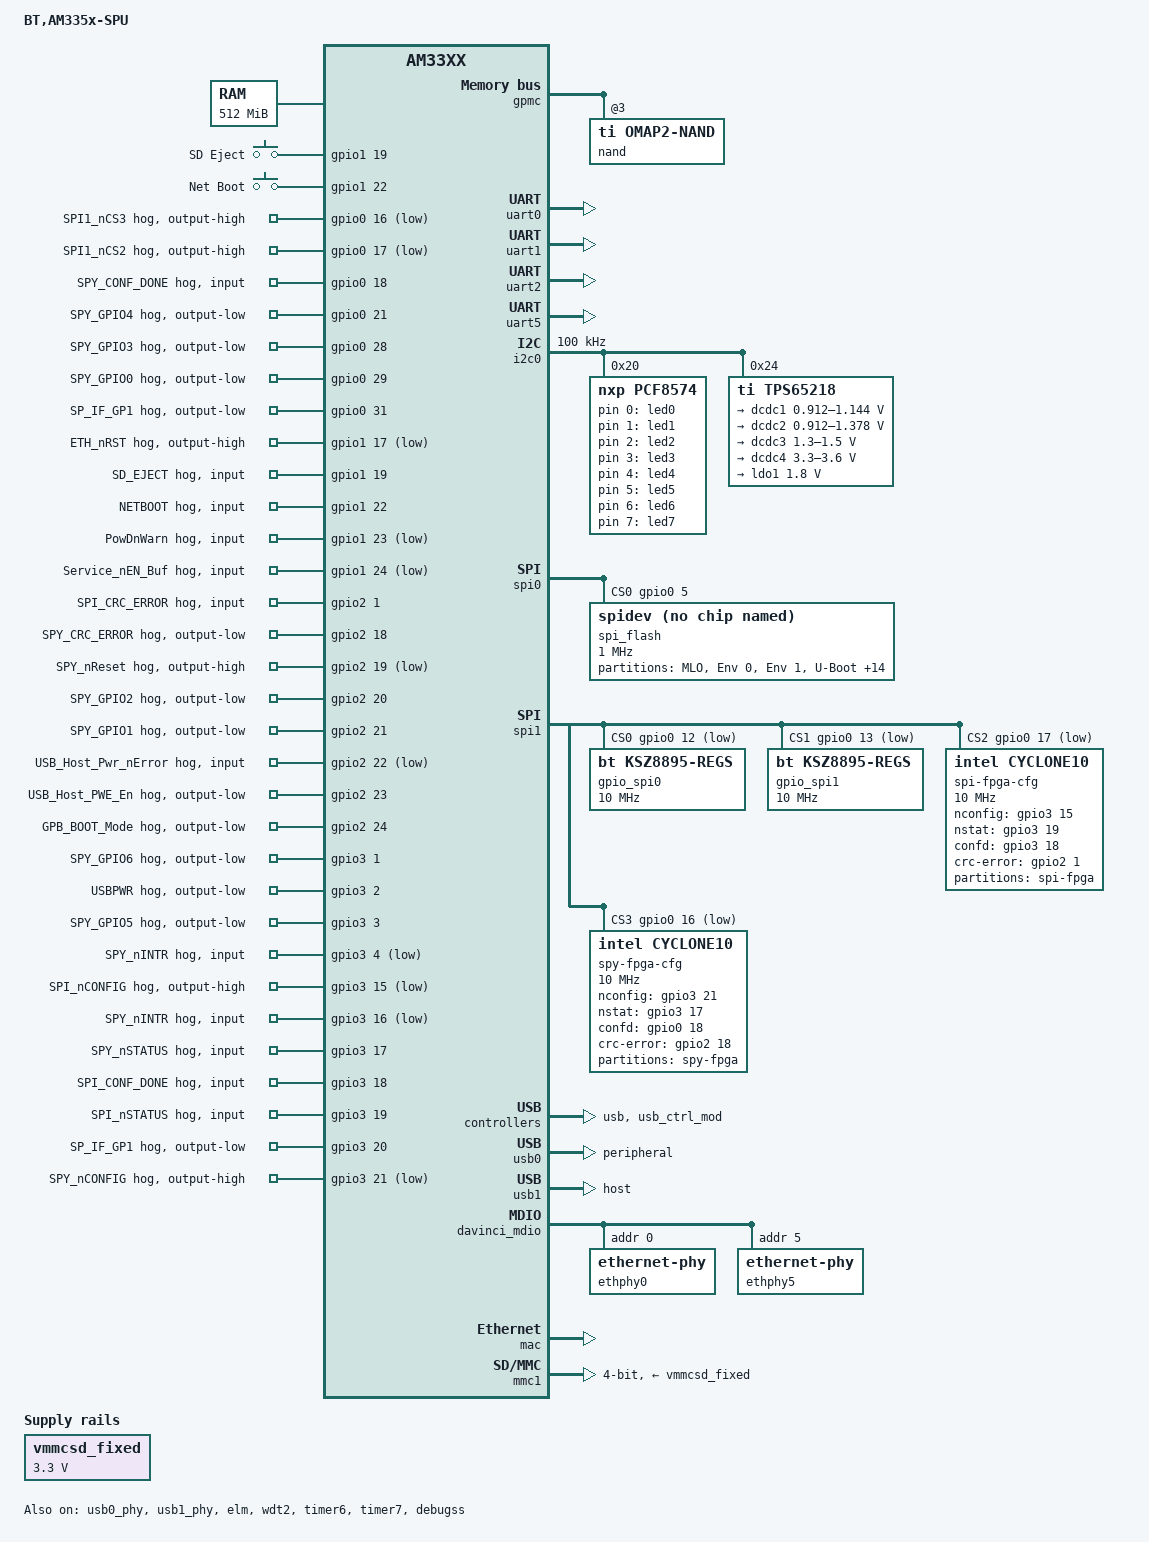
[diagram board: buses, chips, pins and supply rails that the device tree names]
// SPDX-License-Identifier: GPL-2.0+
/*
 * Copyright (C) 2020 Bombardier Transportation
 *		Ulf Samuelsson <ext.ulf.samuelsson@rail.bombardier.com>
 *		Ulf Samuelsson <ulf@emagii.com>
 *
 */
/dts-v1/;
#define	LINUX_PINCTRL	1
#define	CONFIG_OMAP3_SPI_CS_GPIO	1
#define	SPI1_SOFT_SPI	0

#include "am33xx.dtsi"
#include <dt-bindings/interrupt-controller/irq.h>
#include <dt-bindings/input/input.h>

/ {
	model = "BT,AM335x-SPU";
	compatible = "ti,am33xx";

	fset: factory-settings {
		bl-version	= "ABCDEFGHIJKLMNOPQRSTUVWXYZ0123456890";
		version		= <0x0100>;
		order-no	= "BT SPU (SPI)";
		hw-revision	= "ABCDEFGHIJKLMNOPQRSTUVWXYZ0123456890";
		serial-no	= "0";
		device-id	= <0x0>;
		parent-id	= <0x0>;
		hw-variant	= <0x1>;
	};

	aliases {
		gpmc = &gpmc;
		mmc = &mmc1;
		spi0 = &spi0;
		spi1 = &spi1;
		spi2 = &soft_mcspi;
		fset = &fset;
	};

	cpus {
		cpu@0 {
			cpu0-supply = <&dcdc2>;
		};
	};
	chosen {
		bootargs = "console=ttyO0,115200 earlyprintk";
		stdout-path = &uart0;
		tick-timer = &timer2;
	};

	memory {
		device_type = "memory";
		reg = <0x80000000 0x20000000>; /* 512 MB */
	};

	vmmcsd_fixed: fixedregulator@0 {
		compatible = "regulator-fixed";
		regulator-name = "vmmcsd_fixed";
		regulator-min-microvolt = <3300000>;
		regulator-max-microvolt = <3300000>;
	};

	pwm0: omap-pwm@timer5 {
		compatible = "ti,omap-dmtimer-pwm";
		ti,timers = <&timer5>;
		#pwm-cells = <3>;
	};

	pwm1: omap-pwm@timer6 {
		compatible = "ti,omap-dmtimer-pwm";
		ti,timers = <&timer6>;
		#pwm-cells = <3>;
	};
	ocp {
		debugss: debugss@4b000000 {
			compatible = "ti,debugss";
			ti,hwmods = "debugss";
			reg = <0x4b000000 1000000>;
			status = "okay";
		};
	};

	gpio_keys {
		compatible = "gpio-keys";

		sd_eject {
			label = "SD Eject";
			gpios = <&gpio1 19 GPIO_ACTIVE_HIGH>;
			linux,code = <KEY_F1>;
			debounce-interval = <1000>;
			wakeup-source;
		};
		netboot {
			label = "Net Boot";
			gpios = <&gpio1 22 GPIO_ACTIVE_HIGH>;
			linux,code = <KEY_F2>;
			debounce-interval = <1000>;
		};
	};

	leds {
		compatible = "gpio-leds";

		gen_led0 {
			label = "led0";
			gpios = <&pcf8574 0 GPIO_ACTIVE_HIGH>;
		};

		gen_led1 {
			label = "led1";
			gpios = <&pcf8574 1 GPIO_ACTIVE_HIGH>;
		};

		gen_led2 {
			label = "led2";
			gpios = <&pcf8574 2 GPIO_ACTIVE_HIGH>;
		};

		gen_led3 {
			label = "led3";
			gpios = <&pcf8574 3 GPIO_ACTIVE_HIGH>;
		};

		gen_led4 {
			label = "led4";
			gpios = <&pcf8574 4 GPIO_ACTIVE_HIGH>;
		};

		gen_led5 {
			label = "led5";
			gpios = <&pcf8574 5 GPIO_ACTIVE_HIGH>;
		};

		gen_led6 {
			label = "led6";
			gpios = <&pcf8574 6 GPIO_ACTIVE_HIGH>;
			linux,default-trigger = "heartbeat";
		};

		gen_led7 {
			label = "led7";
			gpios = <&pcf8574 7 GPIO_ACTIVE_HIGH>;
			linux,default-trigger = "default-on";
		};

	};
	ocp {
		soft_mcspi: soft-mcspi {
			compatible = "mcspi-gpio";
			num-cs = <5>;
			#address-cells = <1>;
			#size-cells = <0>;
			status = "disabled";
		};
	};
};

&am33xx_pinmux {
	pinctrl-names = "default";

	i2c0_pins: pinmux_i2c0_pins {
		pinctrl-single,pins = <
#if	LINUX_PINCTRL == 1
			AM33XX_PADCONF(AM335X_PIN_I2C0_SDA, PIN_INPUT_PULLUP, MUX_MODE0)	/* i2c0_sda.i2c0_sda */
			AM33XX_PADCONF(AM335X_PIN_I2C0_SCL, PIN_INPUT_PULLUP, MUX_MODE0)	/* i2c0_scl.i2c0_scl */
#else
			AM33XX_IOPAD(0x988, PIN_INPUT_PULLUP	| MUX_MODE0)	/* i2c0_sda.i2c0_sda */
			AM33XX_IOPAD(0x98c, PIN_INPUT_PULLUP	| MUX_MODE0)	/* i2c0_scl.i2c0_scl */
#endif
		>;
	};

	spi0_pins: pinmux_spi0_pins {
		pinctrl-single,pins = <
#if	LINUX_PINCTRL == 1
			AM33XX_PADCONF(AM335X_PIN_SPI0_SCLK, PIN_INPUT_PULLUP, MUX_MODE0)
			AM33XX_PADCONF(AM335X_PIN_SPI0_D0, PIN_INPUT_PULLUP, MUX_MODE0)
			AM33XX_PADCONF(AM335X_PIN_SPI0_D1, PIN_INPUT_PULLUP, MUX_MODE0)
			AM33XX_PADCONF(AM335X_PIN_SPI0_CS0, PIN_INPUT_PULLUP, MUX_MODE0)
#else
			AM33XX_IOPAD(0x950, PIN_INPUT_PULLDOWN | MUX_MODE0)	/* spi0_sclk */
			AM33XX_IOPAD(0x954, PIN_INPUT_PULLUP | MUX_MODE0)	/* spi0_d0 */
			AM33XX_IOPAD(0x958, PIN_INPUT_PULLDOWN | MUX_MODE0)	/* spi0_d1 */
			AM33XX_IOPAD(0x95C, PIN_INPUT_PULLUP | MUX_MODE0)	/* spi0_cs0 */
#endif
		>;
	};

	spi0_pins_gpio: pinmux_spi0_pins_gpio {
		pinctrl-single,pins = <
#if	LINUX_PINCTRL == 1
#else
			AM33XX_IOPAD(0x950, PIN_INPUT_PULLDOWN | MUX_MODE7)	/* spi0_sclk */
			AM33XX_IOPAD(0x954, PIN_INPUT_PULLUP | MUX_MODE7)	/* spi0_d0 */
			AM33XX_IOPAD(0x958, PIN_INPUT_PULLDOWN | MUX_MODE7)	/* spi0_d1 */
			AM33XX_IOPAD(0x95C, PIN_INPUT_PULLUP | MUX_MODE7)	/* spi0_cs0 */
#endif
		>;
	};

	spi1_pins: pinmux_spi1_pins {
		pinctrl-single,pins = <
#if	LINUX_PINCTRL == 1
			AM33XX_PADCONF(AM335X_PIN_ECAP0_IN_PWM0_OUT,	PIN_INPUT_PULLDOWN,	MUX_MODE4)	/* (C18) spi1_sclk */
			AM33XX_PADCONF(AM335X_PIN_UART0_CTSN, 		PIN_INPUT_PULLUP,	MUX_MODE4)	/* (E18) spi1_d0 */
			AM33XX_PADCONF(AM335X_PIN_UART0_RTSN,		PIN_INPUT_PULLDOWN,	MUX_MODE4)	/* (E17) spi1_d1 */
#if	CONFIG_OMAP3_SPI_CS_GPIO == 1
			AM33XX_PADCONF(AM335X_PIN_UART1_CTSN, 		PIN_OUTPUT_PULLUP,	MUX_MODE7)	/* (D18) spi1_cs0 */
			AM33XX_PADCONF(AM335X_PIN_UART1_RTSN,		PIN_OUTPUT_PULLUP,	MUX_MODE7)	/* (D17) spi1_cs1 */
#else
			AM33XX_PADCONF(AM335X_PIN_UART1_CTSN, 		PIN_OUTPUT_PULLUP,	MUX_MODE4)	/* (D18) spi1_cs0 */
			AM33XX_PADCONF(AM335X_PIN_UART1_RTSN,		PIN_OUTPUT_PULLUP,	MUX_MODE4)	/* (D17) spi1_cs1 */
#endif
			AM33XX_PADCONF(AM335X_PIN_MII1_TXD2,		PIN_OUTPUT_PULLUP,	MUX_MODE7)	/* (K15) spi1_cs2 */
			AM33XX_PADCONF(AM335X_PIN_MII1_TXD3,		PIN_OUTPUT_PULLUP,	MUX_MODE7)	/* (J18) spi1_cs3 */
#else
			AM33XX_IOPAD(0x964,				PIN_INPUT_PULLDOWN	| MUX_MODE4)	/* C18, ecap0_in_pwm0_out.spi1_sclk */
			AM33XX_IOPAD(0x968,				PIN_INPUT_PULLUP	| MUX_MODE4)	/* E18, uart0_ctsn.spi1_d0 */
			AM33XX_IOPAD(0x96C,				PIN_INPUT_PULLDOWN	| MUX_MODE4)	/* E17, uart0_rtsn.spi1_d1 */
#if	CONFIG_OMAP3_SPI_CS_GPIO == 1
			AM33XX_IOPAD(0x920,				PIN_OUTPUT_PULLUP	| MUX_MODE7)	/* K15,0:17 mii_txd2.spi1_cs2 */
			AM33XX_IOPAD(0x91C,				PIN_OUTPUT_PULLUP	| MUX_MODE7)	/* J18,0:16 mii_txd3.spi1_cs3 */
#else
			AM33XX_IOPAD(0x978,				PIN_OUTPUT_PULLUP	| MUX_MODE4)	/* D18,0:12 uart1_ctsn.spi1_cs0 */
			AM33XX_IOPAD(0x97C,				PIN_OUTPUT_PULLUP	| MUX_MODE4)	/* D17,0:13 uart1_rtsn.spi1_cs1 */
#endif
			AM33XX_IOPAD(0x920,				PIN_OUTPUT_PULLUP	| MUX_MODE7)	/* K15,0:17 mii_txd2.spi1_cs2 */
			AM33XX_IOPAD(0x91C,				PIN_OUTPUT_PULLUP	| MUX_MODE7)	/* J18,0:16 mii_txd3.spi1_cs3 */
#endif
		>;
	};
	soft_mcspi1_pins: pinmux_soft_mcspi1_pins {
		pinctrl-single,pins = <
#if	LINUX_PINCTRL == 1
			AM33XX_PADCONF(AM335X_PIN_ECAP0_IN_PWM0_OUT,	PIN_INPUT_PULLDOWN, MUX_MODE7)	/* (C18) 0:07 spi1_sclk */
			AM33XX_PADCONF(AM335X_PIN_UART0_CTSN, 		PIN_INPUT_PULLUP,   MUX_MODE7)	/* (E18) 1:08 spi1_d0 (miso) */
			AM33XX_PADCONF(AM335X_PIN_UART0_RTSN,		PIN_INPUT_PULLDOWN, MUX_MODE7)	/* (E17) 1:09 spi1_d1 (mosi) */
			AM33XX_PADCONF(AM335X_PIN_UART1_CTSN, 		PIN_INPUT_PULLUP,   MUX_MODE7)	/* (D18) 0:12 spi1_cs0 */
			AM33XX_PADCONF(AM335X_PIN_UART1_RTSN,		PIN_INPUT_PULLUP,   MUX_MODE7)	/* (E17) 0:13 spi1_cs1 */
			AM33XX_PADCONF(AM335X_PIN_MII1_TXD2,		PIN_INPUT_PULLUP,   MUX_MODE7)	/* (K15) 0:17 spi1_cs2 */
			AM33XX_PADCONF(AM335X_PIN_MII1_TXD3,		PIN_INPUT_PULLUP,   MUX_MODE7)	/* (J18) 0:16 spi1_cs3 */
#else
			AM33XX_IOPAD(0x964, PIN_INPUT_PULLDOWN | MUX_MODE7)	/* C18,0:07 ecap0_in_pwm0_out.spi1_sclk */
			AM33XX_IOPAD(0x968, PIN_INPUT_PULLUP   | MUX_MODE7)	/* E18,1:08 uart0_ctsn.spi1_d0 (miso) */
			AM33XX_IOPAD(0x96C, PIN_INPUT_PULLDOWN | MUX_MODE7)	/* E17,1:09 uart0_rtsn.spi1_d1 (mosi) */
			AM33XX_IOPAD(0x978, PIN_INPUT_PULLUP   | MUX_MODE7)	/* D18,0:12 uart1_ctsn.spi1_cs0 */
			AM33XX_IOPAD(0x97C, PIN_INPUT_PULLUP   | MUX_MODE7)	/* D17,0:13 uart1_rtsn.spi1_cs0 */
			AM33XX_IOPAD(0x920, PIN_OUTPUT_PULLUP  | MUX_MODE7)	/* K15,0:17 mii_txd2.spi1_cs2 */
			AM33XX_IOPAD(0x91C, PIN_OUTPUT_PULLUP  | MUX_MODE7)	/* J18,0:16 mii_txd3.spi1_cs3 */
#endif

		>;
	};

#if	0
- Not working...
	gpio_mux_pins: gpio_mux_pins {
		pinctrl-single,pins = <
#if	LINUX_PINCTRL == 1
			AM33XX_PADCONF(AM335X_PIN_TMS, PIN_INPUT, MUX_MODE0)	/* tms jtag */
			AM33XX_PADCONF(AM335X_PIN_TDI, PIN_INPUT, MUX_MODE0)	/* tdi jtag */
			AM33XX_PADCONF(AM335X_PIN_TDO, PIN_OUTPUT, MUX_MODE0)	/* tdo jtag */
			AM33XX_PADCONF(AM335X_PIN_TCK, PIN_INPUT, MUX_MODE0)	/* tck jtag */
			AM33XX_PADCONF(AM335X_PIN_TRSTN, PIN_INPUT, MUX_MODE0)	/* trstn jtag */
#else
			AM33XX_IOPAD(0x9d0, PIN_INPUT		| MUX_MODE0)	/* tms jtag */
			AM33XX_IOPAD(0x9d4, PIN_INPUT		| MUX_MODE0)	/* tdi jtag */
			AM33XX_IOPAD(0x9d8, PIN_OUTPUT		| MUX_MODE0)	/* tdo jtag */
			AM33XX_IOPAD(0x9dc, PIN_INPUT		| MUX_MODE0)	/* tck jtag */
			AM33XX_IOPAD(0x9e0, PIN_INPUT 		| MUX_MODE0)	/* trstn jtag */
#endif
		>;
	};
#endif
	mmc1_pins: pinmux_mmc1_pins {
		pinctrl-single,pins = <
#if	LINUX_PINCTRL == 1
			AM33XX_PADCONF(AM335X_PIN_MMC0_DAT3,	PIN_INPUT_PULLUP, MUX_MODE0)	/* mmc0_dat3.mmc0_dat3 */
			AM33XX_PADCONF(AM335X_PIN_MMC0_DAT2,	PIN_INPUT_PULLUP, MUX_MODE0)	/* mmc0_dat2.mmc0_dat2 */
			AM33XX_PADCONF(AM335X_PIN_MMC0_DAT1,	PIN_INPUT_PULLUP, MUX_MODE0)	/* mmc0_dat1.mmc0_dat1 */
			AM33XX_PADCONF(AM335X_PIN_MMC0_DAT0,	PIN_INPUT_PULLUP, MUX_MODE0)	/* mmc0_dat0.mmc0_dat0 */
			AM33XX_PADCONF(AM335X_PIN_MMC0_CLK,	PIN_INPUT_PULLUP, MUX_MODE0)	/* mmc0_clk.mmc0_clk */
			AM33XX_PADCONF(AM335X_PIN_MMC0_CMD,	PIN_INPUT_PULLUP, MUX_MODE0)	/* mmc0_cmd.mmc0_cmd */
			AM33XX_PADCONF(AM335X_PIN_MCASP0_ACLKX, PIN_INPUT, MUX_MODE4)		/* mcasp0_aclkx.mmc0_sdcd */
#else
			AM33XX_IOPAD(0x8F0, PIN_INPUT_PULLUP	| MUX_MODE0)	/* mmc0_dat3.mmc0_dat3 */
			AM33XX_IOPAD(0x8F4, PIN_INPUT_PULLUP	| MUX_MODE0)	/* mmc0_dat2.mmc0_dat2 */
			AM33XX_IOPAD(0x8F8, PIN_INPUT_PULLUP	| MUX_MODE0)	/* mmc0_dat1.mmc0_dat1 */
			AM33XX_IOPAD(0x8FC, PIN_INPUT_PULLUP	| MUX_MODE0)	/* mmc0_dat0.mmc0_dat0 */
			AM33XX_IOPAD(0x900, PIN_INPUT_PULLUP	| MUX_MODE0)	/* mmc0_clk.mmc0_clk */
			AM33XX_IOPAD(0x904, PIN_INPUT_PULLUP	| MUX_MODE0)	/* mmc0_cmd.mmc0_cmd */
			AM33XX_IOPAD(0x990, PIN_INPUT_PULLUP	| MUX_MODE4)	/* mcasp0_aclkx.mmc0_sdcd */
#endif
		>;
	};

	uart0_pins: pinmux_uart0_pins {
		pinctrl-single,pins = <
#if	LINUX_PINCTRL == 1
			AM33XX_PADCONF(AM335X_PIN_UART0_RXD, PIN_INPUT_PULLUP, MUX_MODE0)
			AM33XX_PADCONF(AM335X_PIN_UART0_TXD, PIN_OUTPUT_PULLDOWN, MUX_MODE0)
#else
			AM33XX_IOPAD(0x970, PIN_INPUT_PULLUP | MUX_MODE0)	/* uart0_rxd.uart0_rxd */
			AM33XX_IOPAD(0x974, PIN_OUTPUT_PULLDOWN | MUX_MODE0)	/* uart0_txd.uart0_txd */
#endif
		>;
	};

	uart1_pins: pinmux_uart1_pins {
		pinctrl-single,pins = <
#if	LINUX_PINCTRL == 1
			AM33XX_PADCONF(AM335X_PIN_UART1_RXD, PIN_INPUT_PULLUP, MUX_MODE0)
			AM33XX_PADCONF(AM335X_PIN_UART1_TXD, PIN_OUTPUT_PULLDOWN, MUX_MODE0)
#else
			AM33XX_IOPAD(0x980, PIN_INPUT_PULLUP	| MUX_MODE0)	/* uart1_rxd.uart1_rxd */
			AM33XX_IOPAD(0x984, PIN_OUTPUT_PULLDOWN | MUX_MODE0)	/* uart1_txd.uart1_txd */
#endif
		>;
	};

	uart2_pins: pinmux_uart2_pins {
		pinctrl-single,pins = <
#if	LINUX_PINCTRL == 1
			AM33XX_PADCONF(AM335X_PIN_MII1_TX_CLK, PIN_INPUT_PULLUP, MUX_MODE1)
			AM33XX_PADCONF(AM335X_PIN_MII1_RX_CLK, PIN_OUTPUT_PULLDOWN, MUX_MODE1)
#else
			AM33XX_IOPAD(0x92C, PIN_INPUT_PULLUP | MUX_MODE1)	/* mii_txclk.uart2_rxd */
			AM33XX_IOPAD(0x930, PIN_OUTPUT_PULLDOWN | MUX_MODE1)	/* mii_rxclk.uart2_txd */
#endif
		>;
	};

	uart5_pins: pinmux_uart5_pins {
		pinctrl-single,pins = <
#if	LINUX_PINCTRL == 1
			AM33XX_PADCONF(AM335X_PIN_LCD_DATA8, PIN_INPUT_PULLUP, MUX_MODE0)	/* lcd_data8.uart5_rxd */
			AM33XX_PADCONF(AM335X_PIN_LCD_DATA9, PIN_OUTPUT_PULLDOWN, MUX_MODE0)	/* lcd_data9.uart5_txd */
#else
			AM33XX_IOPAD(0x8C0, PIN_INPUT_PULLUP | MUX_MODE1)	/* lcd_data8.uart5_rxd */
			AM33XX_IOPAD(0x8C4, PIN_OUTPUT_PULLDOWN | MUX_MODE1)	/* lcd_data9.uart5_txd */
#endif
		>;
	};
#if	0
	clkout2_pin: pinmux_clkout2_pin {
		pinctrl-single,pins = <
			AM33XX_IOPAD(0x9b4, PIN_OUTPUT_PULLDOWN	| MUX_MODE3)	/* xdma_event_intr1.clkout2 */
		>;
	};
#endif
	rmii2: pinmux_rmii2_pins {
		pinctrl-single,pins = <
#if	LINUX_PINCTRL == 1
			AM33XX_PADCONF(0x1320, 1, 0)						/* SMA2 */
			AM33XX_PADCONF(AM335X_PIN_GPMC_A0,  PIN_OUTPUT, MUX_MODE3)	/* (R13) rmii2_txen */
			AM33XX_PADCONF(AM335X_PIN_GPMC_A4,  PIN_OUTPUT, MUX_MODE3)	/* (R14) rmii2_txd1 */
			AM33XX_PADCONF(AM335X_PIN_GPMC_A5,  PIN_OUTPUT, MUX_MODE3)	/* (V15) rmii2_txd0 */
			AM33XX_PADCONF(AM335X_PIN_GPMC_A9,  PIN_INPUT,  MUX_MODE3)	/* (U16) rmii2_crs_dv */
			AM33XX_PADCONF(AM335X_PIN_GPMC_A10, PIN_INPUT,  MUX_MODE3)	/* (T16) rmii2_rxd1 */
			AM33XX_PADCONF(AM335X_PIN_GPMC_A11, PIN_INPUT,  MUX_MODE3)	/* (V17) rmii2_rxd0 */
			AM33XX_PADCONF(AM335X_PIN_MII1_COL, PIN_INPUT,  MUX_MODE1)	/* (H16) rmii2_refclk */
#if	0
			AM33XX_PADCONF(AM335X_PIN_GPMC_WPN, PIN_INPUT_PULLDOWN, MUX_MODE3)	/* rmii2_rxer */
			AM33XX_PADCONF(AM335X_PIN_GPMC_BEN1, PIN_INPUT_PULLDOWN, MUX_MODE7)	/* rmii2_int */
#endif
#else
			/* Slave 2 */
			AM33XX_IOPAD(0x1320,(0x1U))				/* SMA2 */
			AM33XX_IOPAD(0x840, (PIN_OUTPUT_PULLDOWN | MUX_MODE3))	/* (R13) gpmc_a0.rmii2_txen */
			AM33XX_IOPAD(0x850, (PIN_OUTPUT_PULLDOWN | MUX_MODE3))	/* (R14) gpmc_a4.rmii2_txd1 */
			AM33XX_IOPAD(0x854, (PIN_OUTPUT_PULLDOWN | MUX_MODE3))	/* (V15) gpmc_a5.rmii2_txd0 */
			AM33XX_IOPAD(0x864, (PIN_INPUT_PULLUP	 | MUX_MODE3))	/* (U16) gpmc_a9.rmii2_crs_dv */
			AM33XX_IOPAD(0x868, (PIN_INPUT_PULLUP	 | MUX_MODE3))	/* (T16) gpmc_a10.rmii2_rxd1 */
			AM33XX_IOPAD(0x86c, (PIN_INPUT_PULLUP	 | MUX_MODE3))	/* (V17) gpmc_a11.rmii2_rxd0 */
			AM33XX_IOPAD(0x908, (PIN_INPUT_PULLUP	 | MUX_MODE1))	/* (H16) mii_col.rmii2_refclk */
#endif
		>;
	};

	rmii2_sleep: pinmux_rmii2_sleep_pins {
		pinctrl-single,pins = <
#if	LINUX_PINCTRL == 1
			AM33XX_PADCONF(0x1320, 1, 0)						/* SMA2 */
			AM33XX_PADCONF(AM335X_PIN_GPMC_A0,  PIN_OUTPUT_PULLDOWN, MUX_MODE7)	/* (R13) rmii2_txen */
			AM33XX_PADCONF(AM335X_PIN_GPMC_A4,  PIN_OUTPUT_PULLDOWN, MUX_MODE7)	/* (R14) rmii2_txd1 */
			AM33XX_PADCONF(AM335X_PIN_GPMC_A5,  PIN_OUTPUT_PULLDOWN, MUX_MODE7)	/* (V15) rmii2_txd0 */
			AM33XX_PADCONF(AM335X_PIN_GPMC_A9,  PIN_INPUT_PULLDOWN,  MUX_MODE7)	/* (U16) rmii2_crs_dv */
			AM33XX_PADCONF(AM335X_PIN_GPMC_A10, PIN_INPUT_PULLDOWN,  MUX_MODE7)	/* (T16) rmii2_rxd1 */
			AM33XX_PADCONF(AM335X_PIN_GPMC_A11, PIN_INPUT_PULLDOWN,  MUX_MODE7)	/* (V17) rmii2_rxd0 */
			AM33XX_PADCONF(AM335X_PIN_MII1_COL, PIN_INPUT_PULLDOWN,  MUX_MODE7)	/* (H16) rmii2_refclk */
#else
			/* Slave 2 reset value*/
			AM33XX_IOPAD(0x1320,(0x1U))				/* SMA2 */
			AM33XX_IOPAD(0x840, (PIN_INPUT_PULLDOWN	 | MUX_MODE7))	/* rmii2.txen */
			AM33XX_IOPAD(0x850, (PIN_INPUT_PULLDOWN	 | MUX_MODE7))	/* rmii2.txd1 */
			AM33XX_IOPAD(0x854, (PIN_INPUT_PULLDOWN	 | MUX_MODE7))	/* rmii2.txd0 */
			AM33XX_IOPAD(0x864, (PIN_INPUT_PULLDOWN	 | MUX_MODE7))	/* rmii2.crs_dv */
			AM33XX_IOPAD(0x868, (PIN_INPUT_PULLDOWN	 | MUX_MODE7))	/* rmii2.rxd1 */
			AM33XX_IOPAD(0x86c, (PIN_INPUT_PULLDOWN	 | MUX_MODE7))	/* rmii2.rxd0 */
			AM33XX_IOPAD(0x908, (PIN_INPUT_PULLDOWN	 | MUX_MODE7))	/* rmii2.refclk */
#endif
		>;
	};

	davinci_mdio_default: davinci_mdio_default {
		pinctrl-single,pins = <
#if	LINUX_PINCTRL == 1
			AM33XX_PADCONF(AM335X_PIN_MDIO, PIN_INPUT_PULLUP | SLEWCTRL_FAST, MUX_MODE0)	/* mdio_data.mdio_data */
			AM33XX_PADCONF(AM335X_PIN_MDC, PIN_OUTPUT_PULLUP, MUX_MODE0)			/* mdio_clk.mdio_clk */
#else
			/* MDIO */
			AM33XX_IOPAD(0x948, (PIN_INPUT_PULLUP   | MUX_MODE0 | SLEWCTRL_FAST))	/* mdio_data.mdio_data */
			AM33XX_IOPAD(0x94c, (PIN_OUTPUT_PULLUP	| MUX_MODE0))			/* mdio_clk.mdio_clk */
#endif
		>;
	};

	davinci_mdio_sleep: davinci_mdio_sleep {
		pinctrl-single,pins = <
#if	LINUX_PINCTRL == 1
			AM33XX_PADCONF(AM335X_PIN_MDIO, PIN_INPUT_PULLDOWN, MUX_MODE7)		/* mdio_data.mdio_data */
			AM33XX_PADCONF(AM335X_PIN_MDC, PIN_INPUT_PULLDOWN, MUX_MODE7)		/* mdio_clk.mdio_clk */
#else
			/* MDIO reset value */
			AM33XX_IOPAD(0x948, PIN_INPUT_PULLDOWN	| MUX_MODE7)
			AM33XX_IOPAD(0x94c, PIN_INPUT_PULLDOWN	| MUX_MODE7)
#endif
		>;
	};

	gpmc_pins_s0: gpmc_pins_s0 {
		pinctrl-single,pins = <
#if	LINUX_PINCTRL == 1
			AM33XX_PADCONF(AM335X_PIN_GPMC_AD0,	PIN_INPUT_PULLUP,	MUX_MODE0)
			AM33XX_PADCONF(AM335X_PIN_GPMC_AD1,	PIN_INPUT_PULLUP,	MUX_MODE0)
			AM33XX_PADCONF(AM335X_PIN_GPMC_AD2,	PIN_INPUT_PULLUP,	MUX_MODE0)
			AM33XX_PADCONF(AM335X_PIN_GPMC_AD3,	PIN_INPUT_PULLUP,	MUX_MODE0)
			AM33XX_PADCONF(AM335X_PIN_GPMC_AD4,	PIN_INPUT_PULLUP,	MUX_MODE0)
			AM33XX_PADCONF(AM335X_PIN_GPMC_AD5,	PIN_INPUT_PULLUP,	MUX_MODE0)
			AM33XX_PADCONF(AM335X_PIN_GPMC_AD6,	PIN_INPUT_PULLUP,	MUX_MODE0)
			AM33XX_PADCONF(AM335X_PIN_GPMC_AD7,	PIN_INPUT_PULLUP,	MUX_MODE0)
			AM33XX_PADCONF(AM335X_PIN_GPMC_AD8,	PIN_INPUT_PULLUP,	MUX_MODE0)
			AM33XX_PADCONF(AM335X_PIN_GPMC_AD9,	PIN_INPUT_PULLUP,	MUX_MODE0)
			AM33XX_PADCONF(AM335X_PIN_GPMC_AD10,	PIN_INPUT_PULLUP,	MUX_MODE0)
			AM33XX_PADCONF(AM335X_PIN_GPMC_AD11,	PIN_INPUT_PULLUP,	MUX_MODE0)
			AM33XX_PADCONF(AM335X_PIN_GPMC_AD12,	PIN_INPUT_PULLUP,	MUX_MODE0)
			AM33XX_PADCONF(AM335X_PIN_GPMC_AD13,	PIN_INPUT_PULLUP,	MUX_MODE0)
			AM33XX_PADCONF(AM335X_PIN_GPMC_AD14,	PIN_INPUT_PULLUP,	MUX_MODE0)
			AM33XX_PADCONF(AM335X_PIN_GPMC_AD15,	PIN_INPUT_PULLUP,	MUX_MODE0)
			AM33XX_PADCONF(AM335X_PIN_GPMC_WAIT0,	PIN_INPUT_PULLUP,	MUX_MODE0)
			AM33XX_PADCONF(AM335X_PIN_GPMC_CSN0,	PIN_OUTPUT,		MUX_MODE0)
			AM33XX_PADCONF(AM335X_PIN_GPMC_CSN1,	PIN_INPUT,		MUX_MODE1)	/* gpmc_clk */
			AM33XX_PADCONF(AM335X_PIN_GPMC_CSN2,	PIN_OUTPUT,		MUX_MODE1)	/* gpmc_be1n */
			AM33XX_PADCONF(AM335X_PIN_GPMC_CSN3,	PIN_OUTPUT,		MUX_MODE0)
			AM33XX_PADCONF(AM335X_PIN_GPMC_ADVN_ALE,PIN_OUTPUT,		MUX_MODE0)
			AM33XX_PADCONF(AM335X_PIN_GPMC_OEN_REN,	PIN_OUTPUT,		MUX_MODE0)
			AM33XX_PADCONF(AM335X_PIN_GPMC_WEN,	PIN_OUTPUT,		MUX_MODE0)
			AM33XX_PADCONF(AM335X_PIN_GPMC_BEN0_CLE,PIN_OUTPUT,		MUX_MODE0)
#else
			AM33XX_IOPAD(0x800, PIN_INPUT_PULLUP	| MUX_MODE0)	/* U07: gpmc_ad0.gpmc_ad0 */
			AM33XX_IOPAD(0x804, PIN_INPUT_PULLUP	| MUX_MODE0)	/* V07: gpmc_ad1.gpmc_ad1 */
			AM33XX_IOPAD(0x808, PIN_INPUT_PULLUP	| MUX_MODE0)	/* R08: gpmc_ad2.gpmc_ad2 */
			AM33XX_IOPAD(0x80c, PIN_INPUT_PULLUP	| MUX_MODE0)	/* T08: gpmc_ad3.gpmc_ad3 */
			AM33XX_IOPAD(0x810, PIN_INPUT_PULLUP	| MUX_MODE0)	/* U08: gpmc_ad4.gpmc_ad4 */
			AM33XX_IOPAD(0x814, PIN_INPUT_PULLUP	| MUX_MODE0)	/* V08: gpmc_ad5.gpmc_ad5 */
			AM33XX_IOPAD(0x818, PIN_INPUT_PULLUP	| MUX_MODE0)	/* R09: gpmc_ad6.gpmc_ad6 */
			AM33XX_IOPAD(0x81c, PIN_INPUT_PULLUP	| MUX_MODE0)	/* T09: gpmc_ad7.gpmc_ad7 */
			AM33XX_IOPAD(0x820, PIN_INPUT_PULLUP	| MUX_MODE0)	/* U10: gpmc_ad8.gpmc_ad8 */
			AM33XX_IOPAD(0x824, PIN_INPUT_PULLUP	| MUX_MODE0)	/* T10: gpmc_ad9.gpmc_ad9 */
			AM33XX_IOPAD(0x828, PIN_INPUT_PULLUP	| MUX_MODE0)	/* T11: gpmc_ad10.gpmc_ad10 */
			AM33XX_IOPAD(0x82c, PIN_INPUT_PULLUP	| MUX_MODE0)	/* U12: gpmc_ad11.gpmc_ad11 */
			AM33XX_IOPAD(0x830, PIN_INPUT_PULLUP	| MUX_MODE0)	/* T12: gpmc_ad12.gpmc_ad12 */
			AM33XX_IOPAD(0x834, PIN_INPUT_PULLUP	| MUX_MODE0)	/* R12: gpmc_ad13.gpmc_ad13 */
			AM33XX_IOPAD(0x838, PIN_INPUT_PULLUP	| MUX_MODE0)	/* V13: gpmc_ad14.gpmc_ad14 */
			AM33XX_IOPAD(0x83c, PIN_INPUT_PULLUP	| MUX_MODE0)	/* U13: gpmc_ad15.gpmc_ad15 */
			AM33XX_IOPAD(0x870, PIN_INPUT_PULLUP	| MUX_MODE0)	/* T17: gpmc_wait0.gpmc_wait0 */
			AM33XX_IOPAD(0x87C, PIN_OUTPUT_PULLUP	| MUX_MODE0)	/* gpmc_csn0.gpmc_csn0  */
			AM33XX_IOPAD(0x880, PIN_INPUT_PULLDOWN	| MUX_MODE1)	/* gpmc_csn1.gpmc_clk  */
			AM33XX_IOPAD(0x884, PIN_OUTPUT_PULLUP	| MUX_MODE1)	/* gpmc_csn2.gpmc_be1n  */
			AM33XX_IOPAD(0x888, PIN_OUTPUT_PULLUP	| MUX_MODE0)	/* gpmc_csn3.gpmc_csn3  */
			AM33XX_IOPAD(0x890, PIN_OUTPUT_PULLDOWN	| MUX_MODE0)	/* gpmc_advn_ale.gpmc_advn_ale */
			AM33XX_IOPAD(0x894, PIN_OUTPUT_PULLUP	| MUX_MODE0)	/* gpmc_oen_ren.gpmc_oen_ren */
			AM33XX_IOPAD(0x898, PIN_OUTPUT_PULLUP	| MUX_MODE0)	/* gpmc_wen.gpmc_wen */
			AM33XX_IOPAD(0x89c, PIN_OUTPUT_PULLUP	| MUX_MODE0)	/* gpmc_be0n_cle.gpmc_be0n_cle */
#endif
		>;
	};
};

&gpmc {
	u-boot,dm-spl;
	status = "okay";
	pinctrl-names = "default";
	pinctrl-0 = <&gpmc_pins_s0>;
	ranges = <0 0 0x10000000 0x10000000
		  3 0 0x00000000 0x01000000>;	/* CS3: NAND */

	nand@3,0 {
		compatible = "ti,omap2-nand";
		linux,mtd-name = "micron,mt29f4g08abafa";
		reg = <3 0 4>; /* CS3, offset 0 */
		nand-bus-width = <8>;
		ti,nand-ecc-opt = "bch8";
		ti,nand-xfer-type = "polled";

		gpmc,device-nand = "true";
		gpmc,device-width = <1>;
		gpmc,sync-clk-ps = <0>;
		gpmc,cs-on-ns = <0>;
		gpmc,cs-rd-off-ns = <44>;
		gpmc,cs-wr-off-ns = <44>;
		gpmc,adv-on-ns = <6>;
		gpmc,adv-rd-off-ns = <34>;
		gpmc,adv-wr-off-ns = <44>;
		gpmc,we-on-ns = <0>;
		gpmc,we-off-ns = <40>;
		gpmc,oe-on-ns = <0>;
		gpmc,oe-off-ns = <54>;
		gpmc,access-ns = <64>;
		gpmc,rd-cycle-ns = <82>;
		gpmc,wr-cycle-ns = <82>;
		gpmc,wait-on-read = "true";
		gpmc,wait-on-write = "true";
		gpmc,bus-turnaround-ns = <0>;
		gpmc,cycle2cycle-delay-ns = <0>;
		gpmc,clk-activation-ns = <0>;
		gpmc,wait-monitoring-ns = <0>;
		gpmc,wr-access-ns = <40>;
		gpmc,wr-data-mux-bus-ns = <0>;

		#address-cells = <1>;
		#size-cells = <1>;
		elm_id = <&elm>;

		boot@00000000 {
		       label = "UBI";
		       reg = <0x00000000 0x04000000>;
		};
		boot@04000000{
		       label = "Backup";
		       reg = <0x09000000 0x04000000>;
		};
	};
};

&uart0 {		/* console uart */
	u-boot,dm-spl;
	pinctrl-names = "default";
	pinctrl-0 = <&uart0_pins>;
	status = "okay";
};

&uart1 {
	pinctrl-names = "default";
	pinctrl-0 = <&uart1_pins>;
	status = "okay";
};

&uart2 {
	pinctrl-names = "default";
	pinctrl-0 = <&uart2_pins>;
	status = "okay";
};

&uart5 {
	pinctrl-names = "default";
	pinctrl-0 = <&uart5_pins>;
	dmas = <&edma 32 0>, <&edma 33 0>;
	dma-names = "tx", "rx";
	status = "okay";
};

&i2c0 {
	u-boot,dm-spl;
	status = "okay";
	pinctrl-names = "default";
	pinctrl-0 = <&i2c0_pins>;
	clock-frequency = <100000>;

	pcf8574: pcf8574@38 {
		compatible = "nxp,pcf8574";
		reg = <0x20>;
		gpio-controller;
		#gpio-cells = <2>;
		led0 {
			gpio-hog;
			gpios = <0 GPIO_ACTIVE_LOW>;
			output-high;
			line-name = "led0";
		};
		led1 {
			gpio-hog;
			gpios = <1 GPIO_ACTIVE_LOW>;
			output-low;
			line-name = "led1";
		};
		led2 {
			gpio-hog;
			gpios = <2 GPIO_ACTIVE_LOW>;
			output-low;
			line-name = "led2";
		};
		led3 {
			gpio-hog;
			gpios = <3 GPIO_ACTIVE_LOW>;
			output-low;
			line-name = "led3";
		};
		led4 {
			gpio-hog;
			gpios = <4 GPIO_ACTIVE_LOW>;
			output-low;
			line-name = "led4";
		};
		led5 {
			gpio-hog;
			gpios = <5 GPIO_ACTIVE_LOW>;
			output-low;
			line-name = "led5";
		};
		led6 {
			gpio-hog;
			gpios = <6 GPIO_ACTIVE_LOW>;
			output-low;
			line-name = "led6";
		};
		led7 {
			gpio-hog;
			gpios = <7 GPIO_ACTIVE_LOW>;
			output-low;
			line-name = "led7";
		};
	};

#if	0
	pcf8574: gpio@38 {
		compatible = "nxp,pcf8574";
		reg = <0x20>;
		gpio-controller;
		#gpio-cells = <2>;
		interrupt-controller;
		#interrupt-cells = <2>;
		lines-initial-states = <0x1>;
		wakeup-source;
	};
#endif

	tps65218: tps65218@24 {	/* PMIC controller */
		compatible = "ti,tps65218";
		reg = <0x24>;
 /* CHECK,NMIn */
/*
		interrupts = <GIC_SPI 7 IRQ_TYPE_LEVEL_HIGH>;
		interrupt-parent = <&gic>;
		interrupt-controller;
		#interrupt-cells = <2>;
*/
		dcdc1: regulator-dcdc1 {
			regulator-name = "vdd_core";
			regulator-min-microvolt = <912000>;
			regulator-max-microvolt = <1144000>;
			regulator-boot-on;
			regulator-always-on;
		};

		dcdc2: regulator-dcdc2 {
			regulator-name = "vdd_mpu";
			regulator-min-microvolt = <912000>;
			regulator-max-microvolt = <1378000>;
			regulator-boot-on;
			regulator-always-on;
		};

		dcdc3: regulator-dcdc3 {
			regulator-name = "vdcdc3";
			regulator-suspend-enable;
			regulator-min-microvolt = <1300000>;
			regulator-max-microvolt = <1500000>;
			regulator-boot-on;
			regulator-always-on;
		};

		dcdc4: regulator-dcdc5 {
			regulator-name = "vdcdc4";
			regulator-min-microvolt = <3300000>;
			regulator-max-microvolt = <3600000>;
			regulator-boot-on;
			regulator-always-on;
		};

		ldo1: regulator-ldo1 {
			regulator-min-microvolt = <1800000>;
			regulator-max-microvolt = <1800000>;
			regulator-boot-on;
			regulator-always-on;
		};
	};
};

&spi0 {
	u-boot,dm-spl;
	status = "okay";
	pinctrl-names = "default";
	pinctrl-0 = <&spi0_pins>;
	cs-gpios = <&gpio0 5 GPIO_ACTIVE_HIGH>,
		   <0>,
		   <0>,
		   <0>;
	spi-max-frequency = <1000000>;

	spi_flash: spiflash@0 {
		u-boot,dm-spl;
		u-boot,dm-pre-reloc;
		compatible = "spidev", "jedec,spi-nor";
		spi-max-frequency = <1000000>;
		reg = <0>;
		#address-cells = <1>;
		#size-cells = <1>;
		partition@00000000 {
			label = "MLO";
			reg = <0x00000000 0x00040000>;
		};
		partition@00040000 {
			label = "Env 0";
			reg = <0x00040000 0x00040000>;
		};
		partition@00080000 {
			label = "Env 1";
			reg = <0x00080000 0x00040000>;
		};
		partition@00100000 {
			label = "U-Boot";
			reg = <0x00100000 0x00100000>;
		};
		partition@00300000 {
			label = "SPI-FPGA";
			reg = <0x00300000 0x00200000>;
		};
		partition@00500000 {
			label = "SPY-FPGA";
			reg = <0x00500000 0x00200000>;
		};
		partition@00700000 {
			label = "kernel-rescue";
			reg = <0x00700000 0x00400000>;
		};
		partition@00800000 {
			label = "kernel-0";
			reg = <0x00800000 0x00400000>;
		};
		partition@00C00000 {
			label = "kernel-1";
			reg = <0x00C00000 0x00400000>;
		};
		partition@01000000 {
			label = "rootfs";
			reg = <0x01000000 0x01000000>;
		};

		partition@02040000 {
			label = "Env 0-rescue";
			reg = <0x02040000 0x00040000>;
		};
		partition@02080000 {
			label = "Env 1-rescue";
			reg = <0x02080000 0x00040000>;
		};
		partition@02100000 {
			label = "U-Boot-rescue";
			reg = <0x02100000 0x00100000>;
		};
		partition@02300000 {
			label = "SPI-FPGA-rescue";
			reg = <0x02300000 0x00200000>;
		};
		partition@02500000 {
			label = "SPY-FPGA-rescue";
			reg = <0x02500000 0x00200000>;
		};
		partition@02800000 {
			label = "kernel-0-rescue";
			reg = <0x02800000 0x00400000>;
		};
		partition@02C00000 {
			label = "kernel-1-rescue";
			reg = <0x02C00000 0x00400000>;
		};
		partition@03000000 {
			label = "rootfs-rescue";
			reg = <0x03000000 0x01000000>;
		};
	};
};
// #if	SPI1_SOFT_SPI == 0
&spi1 {
	u-boot,dm-spl;
	status = "okay";
	pinctrl-names = "default";
	pinctrl-0 = <&spi1_pins>;
	num-cs = <4>;		/* Needed for GPIO cs */
	cs-gpios = <&gpio0 12 GPIO_ACTIVE_LOW>,	/* D18,0:12 uart1_ctsn.spi1_cs0 */
		   <&gpio0 13 GPIO_ACTIVE_LOW>,	/* D17,0:13 uart1_rtsn.spi1_cs1 */
		   <&gpio0 17 GPIO_ACTIVE_LOW>,	/* K15,0:17 mii_txd2.spi1_cs2 */
		   <&gpio0 16 GPIO_ACTIVE_LOW>;	/* J18,0:16 mii_txd3.spi1_cs3 */
	spi-max-frequency = <10000000>;
	dmas = <&edma 42 0
		&edma 43 0
		&edma 44 0
		&edma 45 0>;
	dma-names =
		"tx0", "rx0",
		"tx1", "rx1"
	;
	gpio_spi0: gpio_spi@0 {
		compatible = "bt,ksz8895-regs";
		gpio-controller;
		#gpio-cells = <2>;
		reg = <0>;
		spi-max-frequency = <10000000>;
		status = "okay";
	};
	gpio_spi1: gpio_spi@1 {
		compatible = "bt,ksz8895-regs";
		gpio-controller;
		#gpio-cells = <2>;
		reg = <1>;
		spi-max-frequency = <10000000>;
		status = "okay";
	};
#if	1
	spi-fpga-cfg@2 {	/* Intel Cyclone 10, 10CL010 */
		#address-cells = <1>;
		#size-cells = <1>;
		compatible = "intel,cyclone10";
		reg = <2>; /* Chip select 2 */
		spi-max-frequency = <10000000>;
		fpga = "spif";
		config-size	= <368011>;
		nconfig-gpios	= <&gpio3 15 GPIO_ACTIVE_HIGH>;	/* ,3:15 */
		nstat-gpios	= <&gpio3 19 GPIO_ACTIVE_HIGH>;	/* ,3:19 */
		confd-gpios	= <&gpio3 18 GPIO_ACTIVE_HIGH>;	/* ,3:18 */
		crc-error-gpios	= <&gpio2  1 GPIO_ACTIVE_HIGH>;	/* ,2:01 */

		partition@0 {
			label = "spi-fpga";
			reg = <0x0000000 0x8000>;
		};
	};
	spy-fpga-cfg@3 {	/* Intel Cyclone 10, 10CL025 */
		#address-cells = <1>;
		#size-cells = <1>;
		compatible = "intel,cyclone10";
		reg = <3>; /* Chip select 3 */
		spi-max-frequency = <10000000>;
		fpga = "spyf";
		config-size	= <718569>;
		nconfig-gpios	= <&gpio3 21 GPIO_ACTIVE_HIGH>;	/* ,3:21 */
		nstat-gpios	= <&gpio3 17 GPIO_ACTIVE_HIGH>;	/* ,3:17 */
		confd-gpios	= <&gpio0 18 GPIO_ACTIVE_HIGH>;	/* ,0:18 */
		crc-error-gpios	= <&gpio2 18 GPIO_ACTIVE_HIGH>;	/* ,2:18 */

		partition@0 {
			label = "spy-fpga";
			reg = <0x0000000 0x8000>;
		};
	};
#endif
};
//#else
#if	0
&soft_mcspi {
	compatible = "mcspi-gpio";
	pinctrl-names = "default";
	pinctrl-0 = <&soft_mcspi1_pins>;
	status = "okay";
	gpio-sck  = <&gpio0 7 GPIO_ACTIVE_HIGH>;/* C18,3:05 ecap0_in_pwm0_out.spi1_sclk */
	gpio-miso = <&gpio1 8 GPIO_ACTIVE_HIGH>;/* E18,1:08 uart0_ctsn.spi1_d0 (miso) */
	gpio-mosi = <&gpio1 9 GPIO_ACTIVE_HIGH>;/* E17,1:09 uart0_rtsn.spi1_d1 (mosi) */
	cs-gpios =
	   <&gpio0 12 GPIO_ACTIVE_LOW>,	/* D18,0:12 uart1_ctsn.spi1_cs0 */
	   <&gpio0 13 GPIO_ACTIVE_LOW>,	/* D17,0:13 uart1_rtsn.spi1_cs1 */
	   <&gpio0 17 GPIO_ACTIVE_LOW>,	/* K15,0:17 mii_txd2.spi1_cs2 */
	   <&gpio0 16 GPIO_ACTIVE_LOW>;	/* J18,0:16 mii_txd3.spi1_cs3 */
	num-cs = <4>;
	#address-cells = <1>;
	#size-cells = <0>;
	gpio_spi2: gpio_spi@2 {
		compatible = "bt,ksz8895-regs";
		gpio-controller;
		#gpio-cells = <2>;
		reg = <0>;
		spi-max-frequency = <1000000>;
		status = "okay";
	};
	gpio_spi3: gpio_spi@3 {
		compatible = "bt,ksz8895-regs";
		gpio-controller;
		#gpio-cells = <2>;
		reg = <1>;
		spi-max-frequency = <1000000>;
		status = "okay";
	};
	sspi-fpga-cfg@2 {	/* Intel Cyclone 10, 10CL010 */
		#address-cells = <1>;
		#size-cells = <1>;
		compatible = "intel,cyclone10";
		reg = <2>; /* Chip select 0 */
		spi-max-frequency = <1000000>;
		fpga = "spif";
		config-size	= <368011>;
		nconfig-gpios	= <&gpio3 15 GPIO_ACTIVE_HIGH>;	/* ,3:15 */
		nstat-gpios	= <&gpio3 19 GPIO_ACTIVE_HIGH>;	/* ,3:19 */
		confd-gpios	= <&gpio3 18 GPIO_ACTIVE_HIGH>;	/* ,3:18 */
		crc-error-gpios	= <&gpio2  1 GPIO_ACTIVE_HIGH>;	/* ,2:01 */

		partition@0 {
			label = "spi-fpga";
			reg = <0x0000000 0x8000>;
		};
	};
	sspy-fpga-cfg@3 {	/* Intel Cyclone 10, 10CL025 */
		#address-cells = <1>;
		#size-cells = <1>;
		compatible = "intel,cyclone10";
		reg = <3>; /* Chip select 0 */
		spi-max-frequency = <1000000>;
		fpga = "spyf";
		config-size	= <718569>;
		nconfig-gpios	= <&gpio3 21 GPIO_ACTIVE_HIGH>;	/* ,3:21 */
		nstat-gpios	= <&gpio3 17 GPIO_ACTIVE_HIGH>;	/* ,3:17 */
		confd-gpios	= <&gpio0 18 GPIO_ACTIVE_HIGH>;	/* ,0:18 */
		crc-error-gpios	= <&gpio2 18 GPIO_ACTIVE_HIGH>;	/* ,2:18 */

		partition@0 {
			label = "spy-fpga";
			reg = <0x0000000 0x8000>;
		};
	};
};
#endif

&edma {
	status = "okay";
};

&cppi41dma  {
	status = "okay";
};

&usb {
	status = "okay";
};

&usb_ctrl_mod {
	status = "okay";
};

&usb0_phy {
	status = "okay";
};

&usb1_phy {
	status = "okay";
};

&usb0 {
	status = "okay";
	dr_mode = "peripheral";
};

&usb1 {
	status = "okay";
	dr_mode = "host";
};

&davinci_mdio {
	pinctrl-names = "default", "sleep";
	pinctrl-0 = <&davinci_mdio_default>;
	pinctrl-1 = <&davinci_mdio_sleep>;
	status = "okay";
	ethphy0: ethernet-phy@0 {
		reg = <0>;
	};
	ethphy5: ethernet-phy@5 {
		reg = <5>;
	};
};

&mac {
	compatible = "ti,am335x-cpsw";
	pinctrl-names = "default", "sleep";
	pinctrl-0 = <&rmii2>;
	pinctrl-1 = <&rmii2_sleep>;
	status = "okay";
	dual-emac;
	slaves = <2>;
	active_slave = <1>;

	cpsw_emac0: slave@4a100200 {
//		phy-handle = <&ethphy0>;
		phy_id = <&davinci_mdio>, <0x01>;
		phy-mode = "rmii";
//		phys = <&phy_gmii_sel 1 0>;
//		dual_emac_res_vlan = <1>;
	};

	cpsw_emac1: slave@4a100300 {
		phy-handle = <&ethphy5>;
		phy-mode = "rmii";
#if	0
//		phy_id = <&davinci_mdio>, <0x05>;
//		phys = <&phy_gmii_sel 2 0>;
	        fixed-link {
	                speed = <10>;
	                half-duplex;
	        };
#endif
	};
	phy_sel: cpsw-phy-sel@44e10650 {
		rmii-clock-ext;
	};
};

#if	0
	#address-cells = <1>;
	#size-cells = <0>;

	switch: ethernet-switch@1e {
//		compatible = "micrel,ksz8895";
		reg = <30>;

		ports {
			#address-cells = <1>;
			#size-cells = <0>;

			port1: port@1 {
				reg = <1>;
				label = "lan1";
			};

			port2: port@2 {
				reg = <2>;
				label = "lan2";
			};

			port3: port@3 {
				reg = <3>;
				label = "lan3";
			};

			port4: port@4 {
				reg = <4>;
				label = "lan4";
			};

			port5: port@5 {
				reg = <5>;
				label = "cpu";
				ethernet = <&mac>;
				phy-mode = "rmii";
				fixed-link {
					speed = <10>;
					half-duplex;
				};
			};
		};
	};

	phy-mode = "rmii";
	ethphy0: ethernet-phy@0 {
		reg = <0>;
	};
	ethphy1: ethernet-phy@1 {
		reg = <1>;
	};
	ethphy2: ethernet-phy@2 {
		reg = <2>;
	};
	ethphy3: ethernet-phy@3 {
		reg = <3>;
	};
	ethphy4: ethernet-phy@4 {
		reg = <4>;
	};
	ethphy5: ethernet-phy@5 {
		reg = <5>;
	};
	ethphy6: ethernet-phy@6 {
		reg = <6>;
	};

#endif

#if	0
	slaves = <7>;
	fixed-link {
		speed = <100>;
		full-duplex;
	};
	mdio0: gpio {
		compatible = "virtual,mdio-gpio";
		pinctrl-names = "default";
		pinctrl-0 = <&davinci_mdio_default>;

		#address-cells = <1>;
		#size-cells = <0>;
		gpios = <&gpio0 1 GPIO_ACTIVE_HIGH	/* MDIO-CLK */
			 &gpio0 0 GPIO_ACTIVE_HIGH>;	/* MDIO-DATA */

		ethphy0: ethernet-phy@0 {
			reg = <1>;
			phy-mode = "rmii";
		};

	};
	mdio {
		compatible = "virtual,mdio-gpio";
		#address-cells = <1>;
		#size-cells = <0>;
		gpios = <&gpio0 1 GPIO_ACTIVE_HIGH	/* MDIO-CLK */
			 &gpio0 0 GPIO_ACTIVE_HIGH>;	/* MDIO-DATA */

		switch: ethernet-switch@1e {
			compatible = "micrel,ksz8895";
			reg = <30>;

			ports {
				#address-cells = <1>;
				#size-cells = <0>;

				port1: port@1 {
					reg = <1>;
					label = "lan1";
				};

				port2: port@2 {
					reg = <2>;
					label = "lan2";
				};

				port3: port@3 {
					reg = <3>;
					label = "lan3";
				};

				port4: port@4 {
					reg = <4>;
					label = "lan4";
				};

				port5: port@5 {
					reg = <5>;
					label = "cpu";
					ethernet = <&mac>;
					phy-mode = "rmii";
					fixed-link {
						speed = <100>;
						full-duplex;
					};
				};
			};
		};
	};
#endif

&mmc1 {
	u-boot,dm-spl;
	vmmc-supply = <&vmmcsd_fixed>;
	bus-width = <0x4>;
	ti,non-removable;
	ti,needs-special-hs-handling;
	ti,vcc-aux-disable-is-sleep;
	status = "okay";
};

&lcdc {
	status = "disabled";
};

&elm {
	status = "okay";
};

&sham {
	status = "okay";
};

&aes {
	status = "okay";
};

&gpio0 {
	u-boot,dm-spl;
//	u-boot,dm-pre-reloc;
	spi1_ncs3 {
		gpio-hog;
		gpios = <16 GPIO_ACTIVE_LOW>;
		output-high;
		line-name = "SPI1_nCS3";
	};
	spi1_ncs2 {
		gpio-hog;
		gpios = <17 GPIO_ACTIVE_LOW>;
		output-high;
		line-name = "SPI1_nCS2";
	};
	spy_conf_done {
		gpio-hog;
		gpios = <18 GPIO_ACTIVE_HIGH>;
		input;
		line-name = "SPY_CONF_DONE";
	};
	spy_gpio4 {
		gpio-hog;
		gpios = <21 GPIO_ACTIVE_HIGH>;
		output-low;
		line-name = "SPY_GPIO4";
	};
	spy_gpio3 {
		gpio-hog;
		gpios = <28 GPIO_ACTIVE_HIGH>;
		output-low;
		line-name = "SPY_GPIO3";
	};
	spy_gpio0 {
		gpio-hog;
		gpios = <29 GPIO_ACTIVE_HIGH>;
		output-low;
		line-name = "SPY_GPIO0";
	};
	sp_if_gp1 {
		gpio-hog;
		gpios = <31 GPIO_ACTIVE_HIGH>;
		output-low;
		line-name = "SP_IF_GP1";
	};
};

&gpio1 {
	u-boot,dm-spl;
//	u-boot,dm-pre-reloc;
	ti,no-reset-on-init;
	ti,no-idle-on-init;

	eth_nrst {
		gpio-hog;
		gpios = <17 GPIO_ACTIVE_LOW>;
		output-high;
		line-name = "ETH_nRST";
	};
	sd_eject {
		gpio-hog;
		gpios = <19 GPIO_ACTIVE_HIGH>;
		input;
		line-name = "SD_EJECT";
	};
	netboot {
		gpio-hog;
		gpios = <22 GPIO_ACTIVE_HIGH>;
		input;
		line-name = "NETBOOT";
	};
	powdnwarn {
		gpio-hog;
		gpios = <23 GPIO_ACTIVE_LOW>;
		input;
		line-name = "PowDnWarn";
	};
	service_nen_buf {
		gpio-hog;
		gpios = <24 GPIO_ACTIVE_LOW>;
		input;
		line-name = "Service_nEN_Buf";
	};
};

&gpio2 {
	u-boot,dm-spl;
//	u-boot,dm-pre-reloc;
	spi_crc_error {
		gpio-hog;
		gpios = <1 GPIO_ACTIVE_HIGH>;
		input;
		line-name = "SPI_CRC_ERROR";
	};
	spy_crc_error {
		gpio-hog;
		gpios = <18 GPIO_ACTIVE_HIGH>;
		output-low;
		line-name = "SPY_CRC_ERROR";
	};
	spy_nreset {
		gpio-hog;
		gpios = <19 GPIO_ACTIVE_LOW>;
		output-high;
		line-name = "SPY_nReset";
	};
	spy_gpio2 {
		gpio-hog;
		gpios = <20 GPIO_ACTIVE_HIGH>;
		output-low;
		line-name = "SPY_GPIO2";
	};
	spy_gpio1 {
		gpio-hog;
		gpios = <21 GPIO_ACTIVE_HIGH>;
		output-low;
		line-name = "SPY_GPIO1";
	};
	usb_host_pwr_nerror {
		gpio-hog;
		gpios = <22 GPIO_ACTIVE_LOW>;
		input;
		line-name = "USB_Host_Pwr_nError";
	};
	usb_host_pwe_en {
		gpio-hog;
		gpios = <23 GPIO_ACTIVE_HIGH>;
		output-low;
		line-name = "USB_Host_PWE_En";
	};
	gpb_boot_mode {
		gpio-hog;
		gpios = <24 GPIO_ACTIVE_HIGH>;
		output-low;
		line-name = "GPB_BOOT_Mode";
	};
#if	0
	/* Should not be touched by u-boot or linux */
	ddr3_vtt_en {
		gpio-hog;
		gpios = <25 GPIO_ACTIVE_HIGH>;
		output-high;
		line-name = "DDR3_VTT_EN";
	};
#endif

};

&gpio3 {
	u-boot,dm-spl;
//	u-boot,dm-pre-reloc;
	ti,no-reset-on-init;
	ti,no-idle-on-init;
	spy_gpio6 {
		gpio-hog;
		gpios = <1 GPIO_ACTIVE_HIGH>;
		output-low;
		line-name = "SPY_GPIO6";
	};
	usbpwr {
		gpio-hog;
		gpios = <2 GPIO_ACTIVE_HIGH>;
		output-low;
		line-name = "USBPWR";
	};
	spy_gpio5 {
		gpio-hog;
		gpios = <3 GPIO_ACTIVE_HIGH>;
		output-low;
		line-name = "SPY_GPIO5";
	};
	spy_nintr {
		gpio-hog;
		gpios = <4 GPIO_ACTIVE_LOW>;
		input;
		line-name = "SPY_nINTR";
	};
	spi_nconfig {
		gpio-hog;
		gpios = <15 GPIO_ACTIVE_LOW>;
		output-high;
		line-name = "SPI_nCONFIG";
	};
	spi_nirq {
		gpio-hog;
		gpios = <16 GPIO_ACTIVE_LOW>;
		input;
		line-name = "SPY_nINTR";
	};
	spy_nstatus {
		gpio-hog;
		gpios = <17 GPIO_ACTIVE_HIGH>;
		input;
		line-name = "SPY_nSTATUS";
	};
	spi_conf_done {
		gpio-hog;
		gpios = <18 GPIO_ACTIVE_HIGH>;
		input;
		line-name = "SPI_CONF_DONE";
	};
	spi_nstatus {
		gpio-hog;
		gpios = <19 GPIO_ACTIVE_HIGH>;
		input;
		line-name = "SPI_nSTATUS";
	};
	sp_if_gp2 {
		gpio-hog;
		gpios = <20 GPIO_ACTIVE_HIGH>;
		output-low;
		line-name = "SP_IF_GP1";
	};
	spy_nconfig {
		gpio-hog;
		gpios = <21 GPIO_ACTIVE_LOW>;
		output-high;
		line-name = "SPY_nCONFIG";
	};
};

&wdt2 {
	ti,no-reset-on-init;
	ti,no-idle-on-init;
};

&timer6 {		/* used for cpsw end device */
	status = "okay";
	ti,no-reset-on-init;
	ti,no-idle-on-init;
};

&timer7 {		/* used for cpsw end device */
	status = "okay";
	ti,no-reset-on-init;
	ti,no-idle-on-init;
};

&wdt2 {
	status = "okay";
	ti,no-reset-on-init;
	ti,no-idle-on-init;
};

&epwmss0 {
	status = "disabled";
};

&tscadc {
	status = "disabled";
};

&dcan0 {
	status = "disabled";
};

&dcan1 {
	status = "disabled";
};

&sham {
	status = "disabled";
};

&aes {
	status = "disabled";
};

&rng {
	status = "disabled";
};
